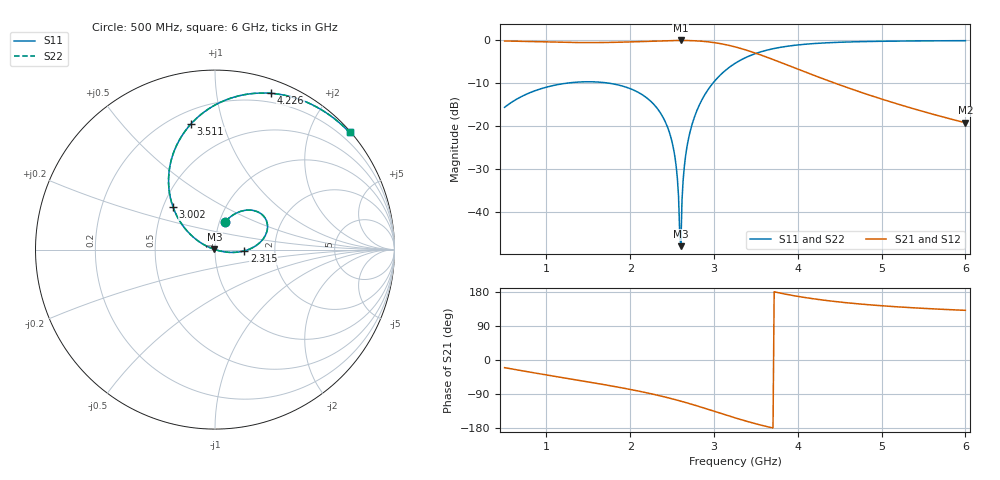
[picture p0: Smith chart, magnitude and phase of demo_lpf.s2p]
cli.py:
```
"""命令行入口：无界面也能跑（便于回归测试与批处理）。

用法：
  python -m app.cli demo                        生成示例工程并求解，导出 examples/demo_lpf.s2p
  python -m app.cli run 工程.json -o out.s2p    求解并导出 Touchstone
  python -m app.cli synth 3 3e9                 打印 3 阶 3GHz 低通 LC 值
  python -m app.cli microstrip 50 0.5 4.4       打印 50Ω 微带线线宽
"""
from __future__ import annotations

import argparse
import json
import os

from .project import Project, new_demo_project
from .synthesis import lowpass_lc, microstrip_line
from .touchstone import write_touchstone


def cmd_demo(args) -> int:
    p = new_demo_project()
    here = os.path.dirname(os.path.dirname(os.path.abspath(__file__)))
    ex = os.path.join(here, "examples")
    os.makedirs(ex, exist_ok=True)
    jp = os.path.join(ex, "demo_lpf.json")
    p.save(jp)
    res = p.network.sweep(p.analysis)
    sp = os.path.join(ex, "demo_lpf.s2p")
    write_touchstone(sp, res.freqs, res.s, p.network.z0,
                     comment="3 阶切比雪夫低通 fc=3GHz")
    print(f"工程已保存：{jp}")
    print(f"Touchstone：{sp}（{len(res.freqs)} 个频点，{res.n_ports()} 端口）")
    k = len(res.freqs) // 2
    print(f"中心频点 {res.freqs[k]/1e9:.3f} GHz："
          f"|S11|={res.db(1,1)[k]:.2f} dB, |S21|={res.db(2,1)[k]:.2f} dB")
    return 0


def cmd_run(args) -> int:
    p = Project.load(args.project)
    res = p.network.sweep(p.analysis)
    out = args.output or os.path.splitext(args.project)[0] + ".s2p"
    write_touchstone(out, res.freqs, res.s, p.network.z0, comment=p.name)
    print(f"{out}: {len(res.freqs)} 点, {res.n_ports()} 端口, Z0={p.network.z0:g}Ω")
    return 0


def cmd_synth(args) -> int:
    rows = lowpass_lc(args.order, args.fc, args.z0, args.ripple, args.kind)
    print(f"{args.order} 阶 {args.kind} 低通，fc={args.fc/1e9:g} GHz，Z0={args.z0:g}Ω，纹波={args.ripple:g}dB")
    for i, r in enumerate(rows, 1):
        where = "并联到地" if r["shunt"] else "串联"
        unit = "nH" if r["kind"] == "L" else "pF"
        print(f"  {i}. {where} {r['kind']} = {r['value']:.6g} {unit}")
    return 0


def cmd_microstrip(args) -> int:
    d = microstrip_line(args.z0, args.f, args.h, args.er, args.quarter)
    print(f"Z0={args.z0:g}Ω  εr={args.er:g}  h={args.h:g}mm")
    print(f"  线宽 W = {d['w']:.4f} mm")
    print(f"  εeff  = {d['eeff']:.4f}")
    if args.quarter:
        print(f"  λ/4@{args.f/1e9:g}GHz 长度 = {d['len']:.4f} mm")
    return 0


def main(argv=None) -> int:
    ap = argparse.ArgumentParser(prog="openrf", description="OpenRF Studio 射频工作台")
    sub = ap.add_subparsers(dest="cmd", required=True)

    d = sub.add_parser("demo", help="生成示例工程并导出 Touchstone")
    d.set_defaults(func=cmd_demo)

    r = sub.add_parser("run", help="求解工程并导出 Touchstone")
    r.add_argument("project")
    r.add_argument("-o", "--output")
    r.set_defaults(func=cmd_run)

    s = sub.add_parser("synth", help="低通 LC 综合")
    s.add_argument("order", type=int)
    s.add_argument("fc", type=float, help="截止频率 Hz")
    s.add_argument("--z0", type=float, default=50.0)
    s.add_argument("--ripple", type=float, default=0.5)
    s.add_argument("--kind", default="chebyshev", choices=["chebyshev", "butterworth"])
    s.set_defaults(func=cmd_synth)

    m = sub.add_parser("microstrip", help="微带线计算")
    m.add_argument("z0", type=float)
    m.add_argument("h", type=float, help="基板厚度 mm")
    m.add_argument("er", type=float)
    m.add_argument("--f", type=float, default=1e9)
    m.add_argument("--quarter", action="store_true")
    m.set_defaults(func=cmd_microstrip)

    a = ap.parse_args(argv)
    return a.func(a)


if __name__ == "__main__":
    raise SystemExit(main())
```
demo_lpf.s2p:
! 3 阶切比雪夫低通 fc=3GHz
! 由 Base_AWR 中文版 · OpenRF Studio 生成（干净室实现）
# Hz S MA R 50
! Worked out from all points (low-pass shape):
!   401 points, 500 MHz to 6 GHz, reference 50 ohm
!   highest |S21| = 0.00 dB at 2.604 GHz (marker M1); lowest = -19.2 dB at 6 GHz (marker M2)
!   |S21| within 3 dB of the highest: start of sweep to 3.501 GHz
!   lowest |S11| = -48.0 dB at 2.604 GHz (marker M3), VSWR 1.01, Z = 49.6 + j0.126 ohm
!   |S11| at or under -10 dB: start of sweep to 1.23 GHz; 1.755 GHz to 2.985 GHz (1.23 GHz wide, 51.9 % of centre)
!   |S22| runs from -48.0 to -0.1 dB; largest |S21 - S12| = 0
!   S11 on the Smith chart (normalised r, x): 500 MHz: 1.07, +0.34; 2.315 GHz: 1.39, -0.02; 3.002 GHz: 0.56, +0.30; 3.511 GHz: 0.28, +0.79; 4.226 GHz: 0.12, +1.41; 6 GHz: 0.02, +2.67
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5e8  0.1659 69.8  0.9861 -20.2  0.9861 -20.2  0.1659 69.8
1.5175e9  0.3297 31.4  0.9441 -58.6  0.9441 -58.6  0.3297 31.4
2.315e9  0.1644 -2.4  0.9864 -92.4  0.9864 -92.4  0.1644 -2.4
2.49375e9  0.0684 -12.1  0.9977 -102.1  0.9977 -102.1  0.0684 -12.1
2.60375e9  0.003977 161.4  1 -108.6  1 -108.6  0.003977 161.4
2.7275e9  0.09683 153.6  0.9953 -116.4  0.9953 -116.4  0.09683 153.6
3.0025e9  0.332 134.7  0.9433 -135.3  0.9433 -135.3  0.332 134.7
3.25e9  0.5398 117.4  0.8418 -152.6  0.8418 -152.6  0.5398 117.4
3.51125e9  0.7119 100.9  0.7023 -169.1  0.7023 -169.1  0.7119 100.9
4.22625e9  0.9248 70.3  0.3805 160.3  0.3805 160.3  0.9248 70.3
6e9  0.994 41.1  0.1094 131.1  0.1094 131.1  0.994 41.1
